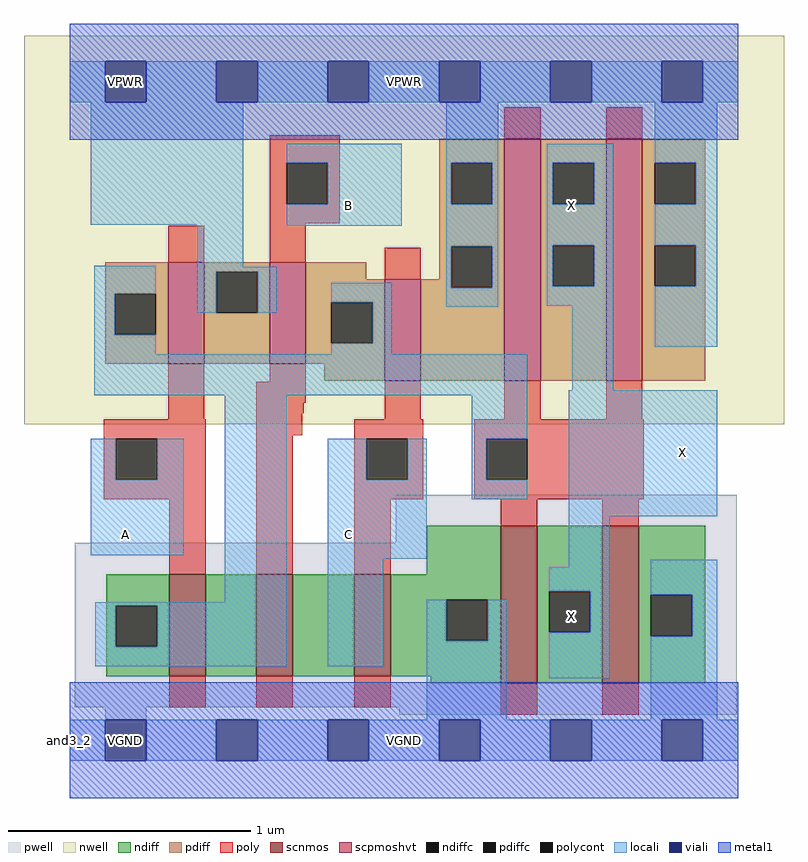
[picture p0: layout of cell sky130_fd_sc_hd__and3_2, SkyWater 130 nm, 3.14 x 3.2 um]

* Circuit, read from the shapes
.subckt sky130_fd_sc_hd__and3_2 A B C VGND VNB VPB VPWR X
XM1 n1 A n2 VNB sky130_fd_pr__nfet_01v8 w=0.42 l=0.15
XM2 n3 B n1 VNB sky130_fd_pr__nfet_01v8 w=0.42 l=0.15
XM3 VGND C n3 VNB sky130_fd_pr__nfet_01v8 w=0.42 l=0.15
XM4 X n2 VGND VNB sky130_fd_pr__nfet_01v8 w=0.65 l=0.15 m=2
XM5 VPWR A n2 VPB sky130_fd_pr__pfet_01v8_hvt w=0.42 l=0.15
XM6 n2 B VPWR VPB sky130_fd_pr__pfet_01v8_hvt w=0.42 l=0.15
XM7 VPWR C n2 VPB sky130_fd_pr__pfet_01v8_hvt w=0.42 l=0.15
XM8 X n2 VPWR VPB sky130_fd_pr__pfet_01v8_hvt w=1 l=0.15 m=2
.ends

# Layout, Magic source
magic
tech sky130B
magscale 1 2
<< nwell >>
rect -38 261 590 582
<< pwell >>
rect 269 163 551 203
rect 4 27 551 163
rect 29 -17 63 27
rect 272 21 551 27
<< scnmos >>
rect 82 53 112 137
rect 154 53 184 137
rect 235 53 265 137
rect 356 47 386 177
rect 440 47 470 177
<< scpmoshvt >>
rect 81 311 111 395
rect 165 311 195 395
rect 260 297 290 381
rect 359 297 389 497
rect 443 297 473 497
<< ndiff >>
rect 295 137 356 177
rect 30 111 82 137
rect 30 77 38 111
rect 72 77 82 111
rect 30 53 82 77
rect 112 53 154 137
rect 184 53 235 137
rect 265 116 356 137
rect 265 82 311 116
rect 345 82 356 116
rect 265 53 356 82
rect 298 47 356 53
rect 386 123 440 177
rect 386 89 396 123
rect 430 89 440 123
rect 386 47 440 89
rect 470 120 525 177
rect 470 86 480 120
rect 514 86 525 120
rect 470 47 525 86
<< pdiff >>
rect 305 477 359 497
rect 305 443 315 477
rect 349 443 359 477
rect 305 408 359 443
rect 29 369 81 395
rect 29 335 37 369
rect 71 335 81 369
rect 29 311 81 335
rect 111 387 165 395
rect 111 353 121 387
rect 155 353 165 387
rect 111 311 165 353
rect 195 381 245 395
rect 305 381 315 408
rect 195 362 260 381
rect 195 328 216 362
rect 250 328 260 362
rect 195 311 260 328
rect 210 297 260 311
rect 290 374 315 381
rect 349 374 359 408
rect 290 297 359 374
rect 389 477 443 497
rect 389 443 399 477
rect 433 443 443 477
rect 389 409 443 443
rect 389 375 399 409
rect 433 375 443 409
rect 389 297 443 375
rect 473 477 525 497
rect 473 443 483 477
rect 517 443 525 477
rect 473 409 525 443
rect 473 375 483 409
rect 517 375 525 409
rect 473 297 525 375
<< ndiffc >>
rect 38 77 72 111
rect 311 82 345 116
rect 396 89 430 123
rect 480 86 514 120
<< pdiffc >>
rect 315 443 349 477
rect 37 335 71 369
rect 121 353 155 387
rect 216 328 250 362
rect 315 374 349 408
rect 399 443 433 477
rect 399 375 433 409
rect 483 443 517 477
rect 483 375 517 409
<< poly >>
rect 165 477 223 500
rect 359 497 389 523
rect 443 497 473 523
rect 165 443 179 477
rect 213 443 223 477
rect 165 427 223 443
rect 81 395 111 425
rect 165 395 195 427
rect 260 381 290 407
rect 81 265 111 311
rect 165 296 195 311
rect 154 279 195 296
rect 154 270 193 279
rect 28 249 112 265
rect 28 215 38 249
rect 72 215 112 249
rect 28 199 112 215
rect 82 137 112 199
rect 154 252 192 270
rect 260 265 290 297
rect 359 265 389 297
rect 443 265 473 297
rect 154 137 184 252
rect 235 249 292 265
rect 235 215 245 249
rect 279 215 292 249
rect 235 199 292 215
rect 334 249 474 265
rect 334 215 344 249
rect 378 215 474 249
rect 334 199 474 215
rect 235 137 265 199
rect 356 177 386 199
rect 440 177 470 199
rect 82 27 112 53
rect 154 27 184 53
rect 235 27 265 53
rect 356 21 386 47
rect 440 21 470 47
<< polycont >>
rect 179 443 213 477
rect 38 215 72 249
rect 245 215 279 249
rect 344 215 378 249
<< locali >>
rect 0 527 29 561
rect 63 527 121 561
rect 155 527 213 561
rect 247 527 305 561
rect 339 527 397 561
rect 431 527 489 561
rect 523 527 552 561
rect 17 426 143 527
rect 20 369 71 392
rect 20 335 37 369
rect 105 391 143 426
rect 179 477 274 493
rect 213 443 274 477
rect 179 425 274 443
rect 311 477 354 527
rect 311 443 315 477
rect 349 443 354 477
rect 311 408 354 443
rect 105 387 171 391
rect 105 353 121 387
rect 155 353 171 387
rect 216 362 266 378
rect 20 319 71 335
rect 250 328 266 362
rect 311 374 315 408
rect 349 374 354 408
rect 311 358 354 374
rect 394 477 449 493
rect 394 443 399 477
rect 433 443 449 477
rect 394 409 449 443
rect 394 375 399 409
rect 433 375 449 409
rect 394 359 449 375
rect 216 319 266 328
rect 20 285 378 319
rect 415 289 449 359
rect 483 477 535 527
rect 517 443 535 477
rect 483 409 535 443
rect 517 375 535 409
rect 483 325 535 375
rect 17 215 38 249
rect 72 215 94 249
rect 17 153 94 215
rect 128 114 179 285
rect 332 249 378 285
rect 21 111 179 114
rect 21 77 38 111
rect 72 77 179 111
rect 21 61 179 77
rect 213 215 245 249
rect 279 215 295 249
rect 213 150 295 215
rect 332 215 344 249
rect 332 199 378 215
rect 412 185 535 289
rect 213 61 259 150
rect 412 143 446 185
rect 396 123 446 143
rect 295 82 311 116
rect 345 82 361 116
rect 295 17 361 82
rect 430 89 446 123
rect 396 51 446 89
rect 480 120 535 149
rect 514 86 535 120
rect 480 17 535 86
rect 0 -17 29 17
rect 63 -17 121 17
rect 155 -17 213 17
rect 247 -17 305 17
rect 339 -17 397 17
rect 431 -17 489 17
rect 523 -17 552 17
<< viali >>
rect 29 527 63 561
rect 121 527 155 561
rect 213 527 247 561
rect 305 527 339 561
rect 397 527 431 561
rect 489 527 523 561
rect 29 -17 63 17
rect 121 -17 155 17
rect 213 -17 247 17
rect 305 -17 339 17
rect 397 -17 431 17
rect 489 -17 523 17
<< metal1 >>
rect 0 561 552 592
rect 0 527 29 561
rect 63 527 121 561
rect 155 527 213 561
rect 247 527 305 561
rect 339 527 397 561
rect 431 527 489 561
rect 523 527 552 561
rect 0 496 552 527
rect 0 17 552 48
rect 0 -17 29 17
rect 63 -17 121 17
rect 155 -17 213 17
rect 247 -17 305 17
rect 339 -17 397 17
rect 431 -17 489 17
rect 523 -17 552 17
rect 0 -48 552 -17
<< labels >>
flabel locali s 213 425 247 459 0 FreeSans 400 0 0 0 B
port 2 nsew signal input
flabel locali s 397 85 431 119 0 FreeSans 200 0 0 0 X
port 8 nsew signal output
flabel locali s 397 425 431 459 0 FreeSans 200 0 0 0 X
port 8 nsew signal output
flabel locali s 29 153 63 187 0 FreeSans 400 0 0 0 A
port 1 nsew signal input
flabel locali s 213 153 247 187 0 FreeSans 400 0 0 0 C
port 3 nsew signal input
flabel locali s 489 221 523 255 0 FreeSans 200 0 0 0 X
port 8 nsew signal output
flabel metal1 s 29 527 63 561 0 FreeSans 200 0 0 0 VPWR
port 7 nsew power bidirectional abutment
flabel metal1 s 29 -17 63 17 0 FreeSans 200 0 0 0 VGND
port 4 nsew ground bidirectional abutment
flabel metal1 s 46 544 46 544 0 FreeSans 200 0 0 0 VPWR
flabel metal1 s 46 0 46 0 0 FreeSans 200 0 0 0 VGND
flabel nwell s 29 527 63 561 0 FreeSans 200 0 0 0 VPB
port 6 nsew power bidirectional
flabel pwell s 29 -17 63 17 0 FreeSans 200 0 0 0 VNB
port 5 nsew ground bidirectional
rlabel comment s 0 0 0 0 4 and3_2
rlabel metal1 s 0 -48 552 48 1 VGND
port 4 nsew ground bidirectional abutment
rlabel metal1 s 0 496 552 592 1 VPWR
port 7 nsew power bidirectional abutment
<< properties >>
string FIXED_BBOX 0 0 552 544
string GDS_END 3851722
string GDS_FILE $PDKPATH/libs.ref/sky130_fd_sc_hd/gds/sky130_fd_sc_hd.gds
string GDS_START 3845898
string LEFclass CORE
string LEFsite unithd
string LEFsymmetry X Y R90
<< end >>
